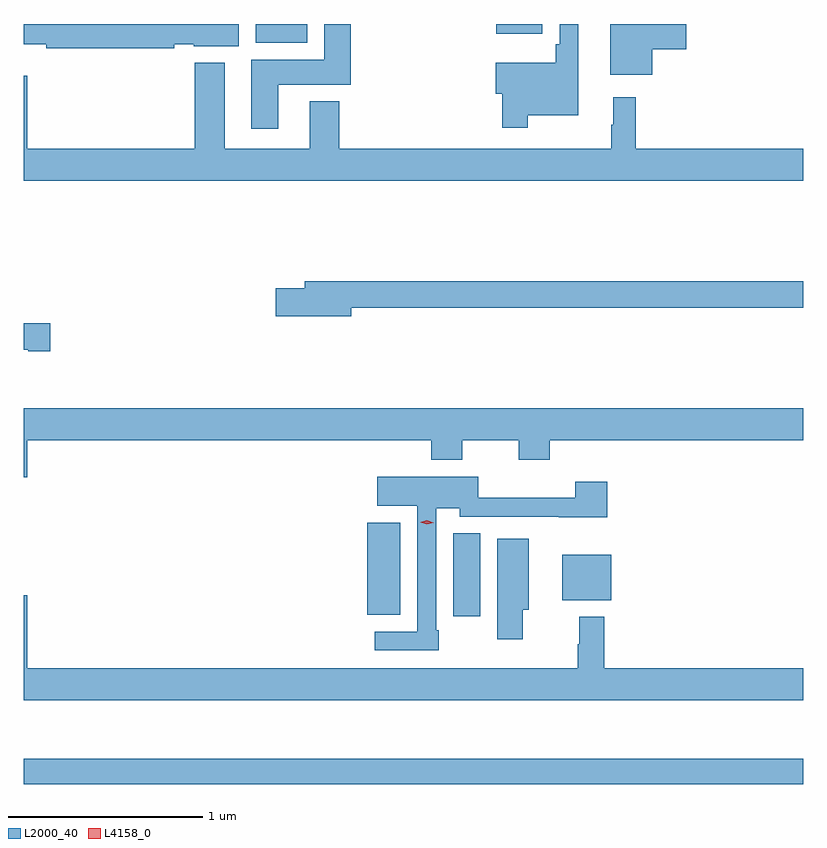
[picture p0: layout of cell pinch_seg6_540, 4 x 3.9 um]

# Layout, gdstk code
import gdstk
lib = gdstk.Library(unit=1e-6, precision=1e-09)
def R(c, l, rs):  # rectangles x0, y0, x1, y1
    for r in rs: c.add(gdstk.rectangle(r[:2], r[2:], *l))
def P(c, l, *ps):  # polygons
    for p in ps: c.add(gdstk.Polygon(p, *l))
L2000_40 = (2000, 40)
L4158_0 = (4158, 0)

pinch_seg6_540 = lib.new_cell('pinch_seg6_540')
R(pinch_seg6_540, L2000_40, [(524.792,993.526,528.792,993.655), (526.997,994.386,527.134,994.811), (526.556,994.393,526.723,994.867), (527.555,994.469,527.806,994.702), (525.983,997.328,526.246,997.424), (527.216,997.373,527.452,997.424)])
P(pinch_seg6_540, L2000_40, [(528.016,997.295),(528.19,997.295),(528.19,997.424),(527.801,997.424),(527.801,997.163),(528.016,997.163)],
  [(527.377,996.956),(527.638,996.956),(527.638,997.424),(527.541,997.424),(527.541,997.321),(527.521,997.321),(527.521,997.225),(527.214,997.225),(527.214,997.067),(527.248,997.067),(527.248,996.891),(527.377,996.891)],
  [(526.099,997.112),(526.469,997.112),(526.469,997.424),(526.334,997.424),(526.334,997.24),(525.959,997.24),(525.959,996.888),(526.099,996.888)],
  [(525.566,997.32),(525.666,997.32),(525.666,997.31),(525.895,997.31),(525.895,997.424),(524.792,997.424),(524.792,997.319),(524.908,997.319),(524.908,997.3),(525.566,997.3)],
  [(528.792,996.784),(527.933,996.784),(527.933,997.048),(527.816,997.048),(527.816,996.908),(527.805,996.908),(527.805,996.784),(526.412,996.784),(526.412,997.027),(526.259,997.027),(526.259,996.784),(525.823,996.784),(525.823,997.225),(525.671,997.225),(525.671,996.784),(524.812,996.784),(524.812,997.159),(524.792,997.159),(524.792,996.62),(528.792,996.62)],
  [(526.474,995.968),(528.792,995.968),(528.792,996.104),(526.235,996.104),(526.235,996.068),(526.086,996.068),(526.086,995.926),(526.474,995.926)],
  [(524.929,995.888),(524.792,995.888),(524.792,995.753),(524.816,995.753),(524.816,995.746),(524.929,995.746)],
  [(524.812,995.288),(526.883,995.288),(526.883,995.189),(527.043,995.189),(527.043,995.288),(527.332,995.288),(527.332,995.189),(527.492,995.189),(527.492,995.288),(528.792,995.288),(528.792,995.452),(524.792,995.452),(524.792,995.1),(524.812,995.1)],
  [(526.921,994.315),(526.908,994.315),(526.908,994.94),(527.028,994.94),(527.028,994.896),(527.537,994.896),(527.537,994.895),(527.786,994.895),(527.786,995.077),(527.621,995.077),(527.621,994.994),(527.124,994.994),(527.124,995.101),(526.605,995.101),(526.605,994.952),(526.812,994.952),(526.812,994.308),(526.593,994.308),(526.593,994.212),(526.921,994.212)],
  [(527.352,994.421),(527.383,994.421),(527.383,994.783),(527.222,994.783),(527.222,994.269),(527.352,994.269)],
  [(528.792,994.12),(527.771,994.12),(527.771,994.384),(527.643,994.384),(527.643,994.244),(527.635,994.244),(527.635,994.12),(524.812,994.12),(524.812,994.495),(524.792,994.495),(524.792,993.956),(528.792,993.956)])
P(pinch_seg6_540, L4158_0, [(526.861,994.858),(526.826,994.868),(526.826,994.868),(526.826,994.869),(526.861,994.878),(526.896,994.867),(526.896,994.867),(526.896,994.867)])

lib.write_gds('pinch_seg6_540.gds')
